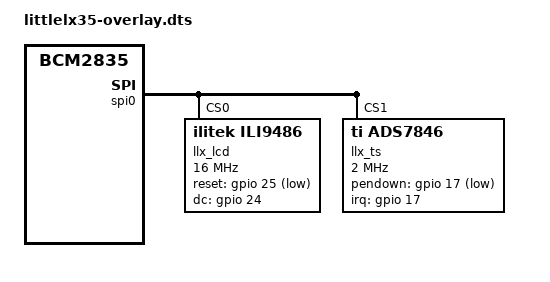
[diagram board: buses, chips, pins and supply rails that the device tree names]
/*
 * littlelx35: generic 3.5" 480x320 SPI touchscreens - ILI9486 display +
 * XPT2046 touch on the Pi header (goodtft "MPI3501"/"3.5inch RPi Display",
 * LCD-show "tft35a"/"mhs35" and their many clones).
 *
 * Same pins as Waveshare/piscreen (LCD CE0, touch CE1, DC GPIO24,
 * RESET GPIO25, PENIRQ GPIO17) but these panels need the longer power-up
 * sequence below; with the short piscreen one they just stay white.
 *
 * Params: speed (SPI Hz), rotate (0/90/180/270), fps, bgr (swap red/blue),
 *         invx, invy, swapxy (touch axes - calibration handles these anyway)
 */
/dts-v1/;
/plugin/;

/ {
	compatible = "brcm,bcm2835";

	fragment@0 {
		target = <&spi0>;
		__overlay__ {
			status = "okay";
		};
	};

	fragment@1 {
		target = <&spidev0>;
		__overlay__ {
			status = "disabled";
		};
	};

	fragment@2 {
		target = <&spidev1>;
		__overlay__ {
			status = "disabled";
		};
	};

	fragment@3 {
		target = <&gpio>;
		__overlay__ {
			llx_pins: llx_pins {
				brcm,pins = <17 25 24>;
				brcm,function = <0 0 0>; /* as LCD-show; the drivers set directions */
			};
		};
	};

	fragment@4 {
		target = <&spi0>;
		__overlay__ {
			#address-cells = <1>;
			#size-cells = <0>;

			llx_lcd: littlelx35@0 {
				compatible = "ilitek,ili9486";
				reg = <0>;
				pinctrl-names = "default";
				pinctrl-0 = <&llx_pins>;

				spi-max-frequency = <16000000>; /* same as LCD-show tft35a */
				txbuflen = <32768>;
				rotate = <0>;
				fps = <40>;
				buswidth = <8>;
				regwidth = <16>;
				reset-gpios = <&gpio 25 1>; /* active low */
				dc-gpios = <&gpio 24 0>;
				debug = <0>;

				init = <0x10000f1 0x36 0x04 0x00 0x3c 0x0f 0x8f
					0x10000f2 0x18 0xa3 0x12 0x02 0xb2 0x12 0xff 0x10 0x00
					0x10000f8 0x21 0x04
					0x10000f9 0x00 0x08
					0x1000036 0x08
					0x10000b4 0x00
					0x10000c1 0x41
					0x10000c5 0x00 0x91 0x80 0x00
					0x10000e0 0x0f 0x1f 0x1c 0x0c 0x0f 0x08 0x48 0x98 0x37 0x0a 0x13 0x04 0x11 0x0d 0x00
					0x10000e1 0x0f 0x32 0x2e 0x0b 0x0d 0x05 0x47 0x75 0x37 0x06 0x10 0x03 0x24 0x20 0x00
					0x100003a 0x55
					0x1000011
					0x1000036 0x28
					0x20000ff
					0x1000029>;
			};

			llx_ts: littlelx35-ts@1 {
				compatible = "ti,ads7846";
				reg = <1>;
				spi-max-frequency = <2000000>;
				interrupts = <17 2>; /* falling edge */
				interrupt-parent = <&gpio>;
				pendown-gpio = <&gpio 17 1>;
				ti,x-plate-ohms = /bits/ 16 <60>;
				ti,pressure-max = /bits/ 16 <255>;
			};
		};
	};

	__overrides__ {
		speed =  <&llx_lcd>,"spi-max-frequency:0";
		rotate = <&llx_lcd>,"rotate:0";
		fps =    <&llx_lcd>,"fps:0";
		bgr =    <&llx_lcd>,"bgr?";
		debug =  <&llx_lcd>,"debug:0";
		invx =   <&llx_ts>,"touchscreen-inverted-x?";
		invy =   <&llx_ts>,"touchscreen-inverted-y?";
		swapxy = <&llx_ts>,"touchscreen-swapped-x-y?";
	};
};
